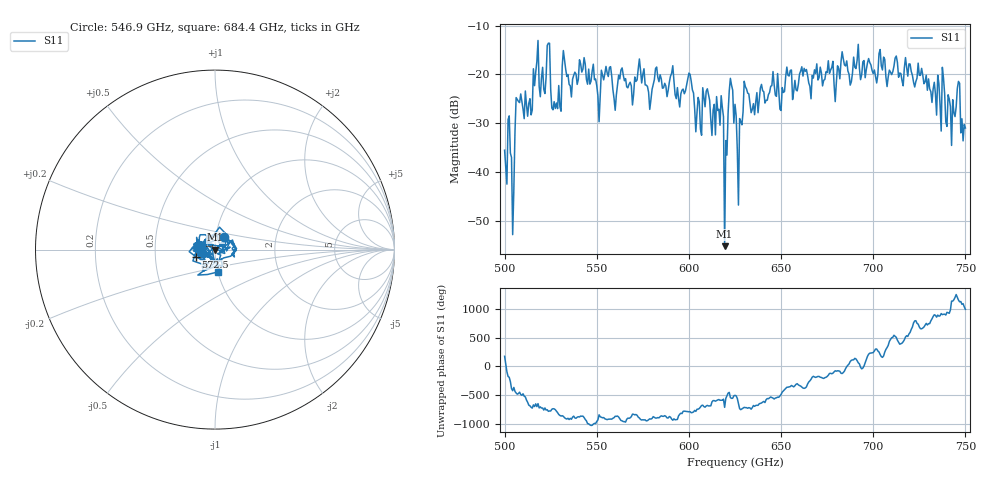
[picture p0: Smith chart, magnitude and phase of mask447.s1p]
!Created with skrf (http://scikit-rf.org).
# GHz S MA R 50.0
!freq magS11 angS11
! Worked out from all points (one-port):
!   401 points, 500 GHz to 750 GHz, reference 50 ohm
!   lowest |S11| = -55.2 dB at 619.4 GHz (marker M1), VSWR 1.00, Z = 50.2 + j0.0292 ohm
!   |S11| at or under -10 dB: start of sweep to end of sweep
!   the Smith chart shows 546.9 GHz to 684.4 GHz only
!   S11 on the Smith chart (normalised r, x): 546.9 GHz: 1.09, +0.15; 572.5 GHz: 0.80, -0.06; 684.4 GHz: 1.01, -0.25
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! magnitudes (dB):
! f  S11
! 500 GHz  -35.5
! 502.5 GHz  -28.5
! 504.4 GHz  -52.8
! 507.5 GHz  -25.5
! 513.8 GHz  -25.0
! 516.9 GHz  -19.6
! 520.6 GHz  -18.5
! 523.8 GHz  -13.6
! 526.9 GHz  -25.6
! 531.2 GHz  -18.3
! 546.9 GHz  -21.4
! 562.5 GHz  -20.9
! 572.5 GHz  -18.8
! 593.8 GHz  -22.7
! 600 GHz  -19.7
! 616.2 GHz  -27.1
! 619.4 GHz  -55.2
! 622.5 GHz  -20.8
! 625 GHz  -26.1
! 627.5 GHz  -29.0
! 631.2 GHz  -23.0
! 656.2 GHz  -25.1
! 684.4 GHz  -18.0
! 687.5 GHz  -22.2
! 718.8 GHz  -20.3
! 741.2 GHz  -25.0
! 745.6 GHz  -22.8
! 750 GHz  -31.0
